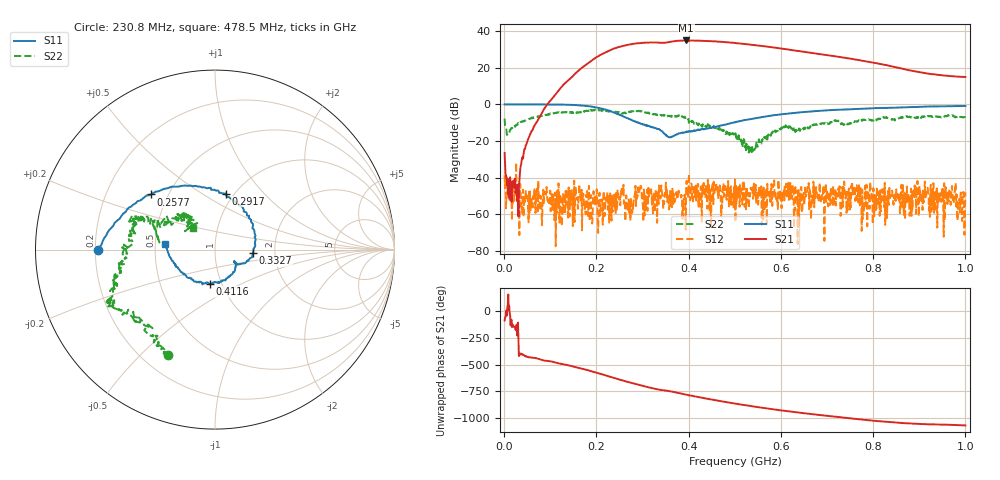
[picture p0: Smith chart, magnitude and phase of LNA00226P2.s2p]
! Created with skrf 1.9.0 (http://scikit-rf.org).
# Hz S RI R 50.0
!freq ReS11 ImS11 ReS21 ImS21 ReS12 ImS12 ReS22 ImS22
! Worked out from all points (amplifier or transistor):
!   1001 points, 1 MHz to 1 GHz, reference 50 ohm
!   highest |S21| = 34.9 dB at 394.6 MHz (marker M1)
!   |S21| within 3 dB of that: 257.3 MHz to 558 MHz (300.8 MHz wide, 73.8 % of centre)
!   unconditionally stable (mu >= 1): start of sweep to 99.4 MHz; 207 MHz to 284.7 MHz; 296.8 MHz to end of sweep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
!   at 166.8 MHz: K = 2.39, MAG = 29.7 dB, |S12| = -52.9 dB
!   at 500.5 MHz: K = 1.30, MAG = 34.0 dB, |S12| = -41.1 dB
!   at 1 GHz: K = 3.82, MAG = 22.8 dB, |S12| = -48.1 dB
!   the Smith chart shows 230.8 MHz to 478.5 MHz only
!   S11 on the Smith chart (normalised r, x): 230.8 MHz: 0.21, -0.00; 257.7 MHz: 0.40, +0.32; 291.7 MHz: 0.92, +0.64; 332.7 MHz: 1.53, -0.07; 411.6 MHz: 0.88, -0.35; 478.5 MHz: 0.57, +0.04
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1000000  0.9972 0.0133  0.00156 -0.0469  -0.0105 -0.00511  0.2779 0.2951
1.08892e8  0.5117 -0.8486  -0.8058 -1.497  -0.000494 -0.00048  0.4306 -0.3671
1.67833e8  -0.2495 -0.8903  -9.794 -0.4986  -0.00268 -0.00378  0.0441 -0.6276
2.04796e8  -0.656 -0.4497  -15.76 13.87  -0.00113 -0.00126  -0.1678 -0.6835
2.3077e8  -0.6493 -0.000408  -7.699 29.51  -0.00249 0.00109  -0.2642 -0.585
2.57743e8  -0.3558 0.3073  12.95 37.26  -0.0023 -0.00319  -0.3988 -0.4027
2.91709e8  0.0613 0.3117  40.17 24.13  -0.00181 0.00324  -0.6011 -0.2844
3.11689e8  0.197 0.1697  47.74 7.967  -0.0018 0.0019  -0.5626 -0.1861
3.32668e8  0.2097 -0.0208  47.79 -9.132  0.00339 0.000833  -0.5226 -0.0834
3.34666e8  0.2078 -0.032  47.14 -10.59  -0.000814 0.00165  -0.5034 -0.051
3.68632e8  0.1164 -0.0794  42.86 -31.43  -0.00187 0.00302  -0.4411 0.1501
3.94606e8  0.0603 -0.1668  27.31 -48.33  -0.0026 0.00414  -0.4222 0.1685
4.11589e8  -0.027 -0.191  14.25 -53.08  0.00241 0.00521  -0.2537 0.1458
4.43557e8  -0.1805 -0.1304  -10.35 -52.31  0.00468 0.00432  -0.1841 0.1977
4.78522e8  -0.2768 0.0311  -30.97 -39.47  0.00423 0.000101  -0.1214 0.1205
5.005e8  -0.2788 0.1574  -38.37 -28.15  0.00158 -0.00868  -0.1251 0.0501
5.36464e8  -0.2039 0.3417  -41.36 -8.51  0.00302 -0.00411  -0.0485 0.00972
5.84416e8  0.00756 0.504  -34.06 10.96  0.00466 -0.0044  -0.1514 -0.0775
6.67333e8  0.4054 0.4985  -11.53 22.29  -0.000197 -0.00324  -0.267 -0.0246
7.53247e8  0.679 0.2857  3.816 16.99  -0.00429 -0.00348  -0.3043 0.0483
8.34166e8  0.802 0.0286  8.183 7.855  -0.000602 -0.00169  -0.4072 0.0914
1e9  0.7354 -0.5216  5.455 1.176  0.000628 -0.00387  -0.1939 0.389
